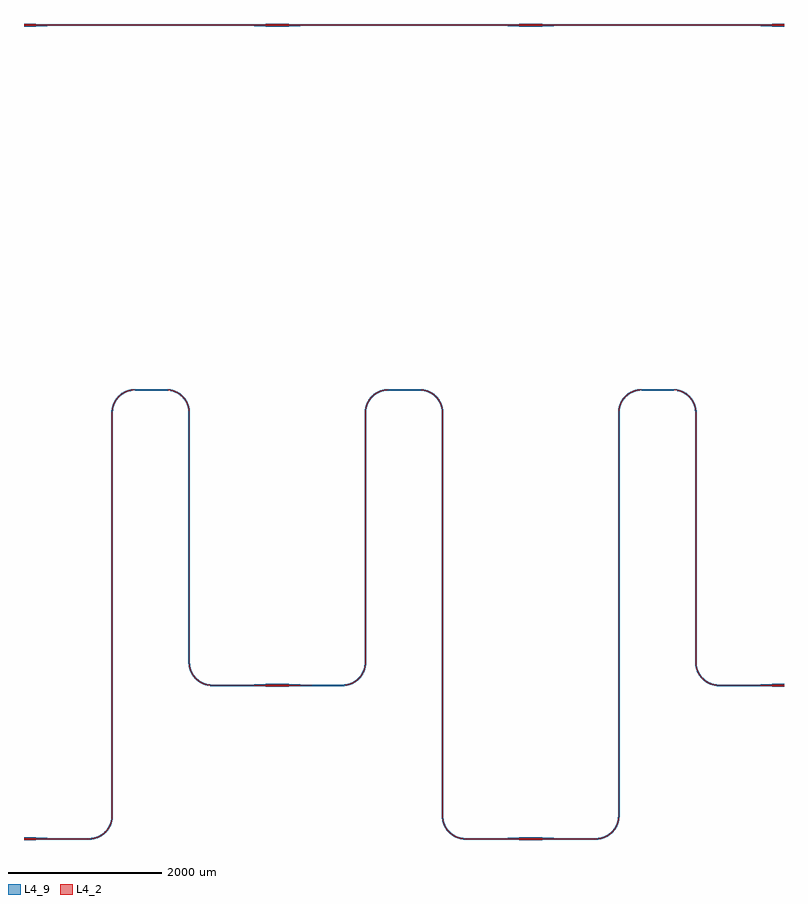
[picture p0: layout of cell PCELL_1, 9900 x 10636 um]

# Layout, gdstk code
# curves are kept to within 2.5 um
from math import pi, radians
import gdstk
lib = gdstk.Library(unit=1e-6, precision=5e-09)
def R(c, l, rs):  # rectangles x0, y0, x1, y1
    for r in rs: c.add(gdstk.rectangle(r[:2], r[2:], *l))
def P(c, l, *ps):  # polygons
    for p in ps: c.add(gdstk.Polygon(p, *l))
L4_2 = (4, 2)
L4_9 = (4, 9)

dongbo = lib.new_cell('Dongbo')
R(dongbo, L4_2, [(0,-10,150,10)])
P(dongbo, L4_9, [(0,-18),(150,-18),(150,-10),(150,10),(150,18),(0,18),(0,10),(0,-10)])

transition_wire_wire_lin = lib.new_cell('TRANSITION_WIRE_WIRE_LINEAR_3')
P(transition_wire_wire_lin, L4_2, [(150,10),(150,-10),(450,-1.9),(450,1.9)])
P(transition_wire_wire_lin, L4_9, [(150,18),(150,10),(150,-10),(150,-18),(450,-9.9),(450,-1.9),(450,1.9),(450,9.9)])

c_sm = lib.new_cell('SM')
R(c_sm, L4_2, [(0,-1.9,400,1.9)])
P(c_sm, L4_9, [(0,-9.9),(400,-9.9),(400,-1.9),(400,1.9),(400,9.9),(0,9.9),(0,1.9),(0,-1.9)])

pp3_link1 = lib.new_cell('PP3_link1')
R(pp3_link1, L4_2, [(450,21048.1,2850,21051.9)])
P(pp3_link1, L4_9, [(450,21040.1),(2850,21040.1),(2850,21048.1),(2850,21051.9),(2850,21059.9),(450,21059.9),(450,21051.9),(450,21048.1)])

pp3_link2 = lib.new_cell('PP3_link2')
P(pp3_link2, L4_2, [(450,12448.1),(858.42,12448.28),(879.21,12449.72),(899.855,12452.585),(920.25,12456.875),(940.3,12462.555),(955.055,12467.72),(974.275,12475.775),(992.895,12485.14),(1006.41,12492.995),(1023.76,12504.54),(1040.28,12517.25),(1055.875,12531.07),(1066.93,12542.125),(1080.75,12557.72),(1090.39,12570.03),(1102.23,12587.18),(1112.86,12605.105),(1122.225,12623.725),(1128.39,12638.09),(1133.81,12652.75),(1139.835,12672.7),(1144.475,12693.02),(1147.7,12713.61),(1149.495,12734.375),(1149.9,12749.99),(1149.9,15999.99),(1151.01,16025.695),(1154.33,16051.2),(1157.375,16066.335),(1161.195,16081.29),(1169.27,16105.71),(1179.42,16129.34),(1186.475,16143.07),(1194.23,16156.415),(1208.66,16177.705),(1218.18,16189.855),(1228.315,16201.5),(1246.5,16219.685),(1258.145,16229.82),(1270.295,16239.34),(1291.585,16253.77),(1314.045,16266.305),(1337.495,16276.86),(1356.86,16283.825),(1381.665,16290.625),(1396.8,16293.67),(1417.18,16296.505),(1432.57,16297.7),(1450,16298.1),(1450,16301.9),(1421.975,16300.775),(1396.145,16297.415),(1380.82,16294.33),(1365.675,16290.46),(1340.945,16282.28),(1317.01,16272.005),(1303.105,16264.86),(1289.59,16257.005),(1276.5,16248.46),(1263.87,16239.25),(1243.935,16222.485),(1232.69,16211.625),(1222.025,16200.195),(1205.61,16179.97),(1190.995,16158.41),(1183.14,16144.895),(1175.995,16130.99),(1165.72,16107.055),(1157.54,16082.325),(1153.67,16067.18),(1150.585,16051.855),(1147.225,16026.025),(1146.1,16000.01),(1146.1,12750.01),(1145.39,12729.435),(1143.925,12714.07),(1140.74,12693.735),(1136.165,12673.675),(1130.21,12653.975),(1124.86,12639.495),(1116.58,12620.66),(1109.525,12606.93),(1101.77,12593.585),(1090.37,12576.45),(1077.82,12560.145),(1064.175,12544.74),(1049.5,12530.315),(1033.86,12516.935),(1021.55,12507.63),(1004.415,12496.23),(986.535,12486.045),(972.685,12479.23),(953.71,12471.27),(939.14,12466.175),(919.34,12460.56),(899.2,12456.33),(878.82,12453.495),(858.29,12452.08),(450,12451.9)])
P(pp3_link2, L4_9, [(450,12440.1),(858.695,12440.285),(901.23,12444.705),(942.745,12454.94),(977.62,12468.51),(1010.605,12486.185),(1045.375,12511.08),(1072.73,12536.615),(1096.815,12565.26),(1117.27,12596.595),(1133.795,12630.17),(1147.57,12670.655),(1154.95,12707.34),(1157.9,12749.955),(1158.98,16025.005),(1167.57,16074.275),(1184.495,16121.34),(1209.255,16164.795),(1244.645,16206.895),(1291.545,16244.295),(1340.465,16269.43),(1393.245,16284.885),(1450,16290.1),(1450,16309.9),(1394.77,16305.295),(1338.11,16289.76),(1285.395,16263.815),(1238.525,16228.38),(1202.41,16189.01),(1171.15,16139.26),(1149.845,16084.505),(1139.255,16026.715),(1138.1,12750.045),(1135.34,12710.065),(1128.43,12675.725),(1117.43,12642.465),(1102.505,12610.77),(1080.915,12577.06),(1058.375,12550.25),(1032.76,12526.345),(1004.455,12505.705),(973.87,12488.63),(941.445,12475.365),(897.825,12464.21),(858.015,12460.075),(450,12459.9)])

pp3_link3 = lib.new_cell('PP3_link3')
P(pp3_link3, L4_2, [(2850,10451.9),(2441.71,10452.08),(2421.18,10453.495),(2395.735,10457.26),(2370.71,10463.195),(2351.12,10469.49),(2332.005,10477.115),(2313.465,10486.045),(2295.585,10496.23),(2282.66,10504.67),(2266.14,10516.935),(2250.5,10530.315),(2235.825,10544.74),(2225.49,10556.205),(2212.66,10572.295),(2203.78,10584.92),(2192.985,10602.44),(2183.42,10620.66),(2175.14,10639.495),(2168.175,10658.86),(2162.56,10678.66),(2158.33,10698.8),(2155.01,10724.305),(2153.9,10750.01),(2153.9,16000.01),(2153.495,16015.625),(2152.28,16031.21),(2150.265,16046.715),(2145.125,16072.25),(2137.81,16097.25),(2132.39,16111.91),(2126.225,16126.275),(2119.32,16140.3),(2111.7,16153.95),(2097.46,16175.76),(2088.035,16188.23),(2077.975,16200.195),(2059.875,16218.93),(2048.265,16229.395),(2036.13,16239.25),(2014.82,16254.23),(1992.3,16267.32),(1978.275,16274.225),(1963.91,16280.39),(1949.25,16285.81),(1934.325,16290.46),(1908.98,16296.475),(1893.56,16299.025),(1878.025,16300.775),(1850,16301.9),(1850,16298.1),(1867.43,16297.7),(1882.82,16296.505),(1903.2,16293.67),(1918.335,16290.625),(1943.14,16283.825),(1967.265,16274.915),(1981.34,16268.58),(1995.07,16261.525),(2017.08,16248.22),(2037.86,16233.065),(2057.26,16216.175),(2068.175,16205.26),(2078.51,16193.795),(2094.37,16173.55),(2108.43,16152.01),(2115.955,16138.535),(2122.77,16124.685),(2128.86,16110.505),(2134.21,16096.025),(2141.44,16071.34),(2146.51,16046.125),(2148.505,16030.82),(2149.7,16015.43),(2150.1,15999.99),(2150.1,10749.99),(2151.225,10723.975),(2154.585,10698.145),(2158.875,10677.75),(2164.555,10657.7),(2169.72,10642.945),(2177.775,10623.725),(2187.14,10605.105),(2194.995,10591.59),(2206.54,10574.24),(2219.25,10557.72),(2233.07,10542.125),(2247.935,10527.515),(2263.77,10513.965),(2280.5,10501.54),(2293.59,10492.995),(2311.7,10482.68),(2330.475,10473.64),(2349.835,10465.915),(2369.675,10459.54),(2395.02,10453.525),(2415.61,10450.3),(2441.58,10448.28),(2850,10448.1)])
P(pp3_link3, L4_9, [(2850,10459.9),(2441.985,10460.075),(2397.245,10465.115),(2353.825,10477.015),(2321.64,10490.84),(2287.205,10511.255),(2255.91,10536.21),(2228.345,10565.24),(2207.705,10593.545),(2188.495,10628.66),(2175.79,10661.305),(2166.21,10700.175),(2161.9,10750.045),(2161.485,16016.04),(2152.895,16074.165),(2133.49,16129.62),(2103.965,16180.42),(2065.385,16224.73),(2019.135,16260.965),(1966.875,16287.82),(1910.49,16304.33),(1850,16309.9),(1850,16290.1),(1906.755,16284.885),(1964.17,16267.535),(2012.65,16241.555),(2058.895,16203.355),(2093.555,16160.65),(2117.56,16116.775),(2133.67,16069.425),(2141.71,16015.015),(2142.1,10749.955),(2146.705,10696.77),(2155.345,10660.36),(2170.51,10620.38),(2191.035,10582.865),(2216.525,10548.535),(2246.5,10518.035),(2275.955,10494.955),(2312.74,10473.15),(2352.175,10456.62),(2398.77,10444.705),(2441.305,10440.285),(2850,10440.1)])

pp3 = lib.new_cell('PP3')
pp3.add(gdstk.Reference(dongbo, (0,21050)))
pp3.add(gdstk.Reference(dongbo, (3150,10450)))
pp3.add(gdstk.Reference(dongbo, (3150,21050)))
pp3.add(gdstk.Reference(transition_wire_wire_lin, (0,21050)))
pp3.add(gdstk.Reference(dongbo, (0,12450)))
pp3.add(gdstk.Reference(c_sm, (1450,16300)))
pp3.add(gdstk.Reference(transition_wire_wire_lin, (0,12450)))
pp3.add(gdstk.Reference(transition_wire_wire_lin, (3300,21050), rotation=pi, x_reflection=True))
pp3.add(gdstk.Reference(transition_wire_wire_lin, (3300,10450), rotation=pi, x_reflection=True))
pp3.add(gdstk.Reference(pp3_link1, (0,0)))
pp3.add(gdstk.Reference(pp3_link2, (0,0)))
pp3.add(gdstk.Reference(pp3_link3, (0,0)))

c_transition_wire_wire_lin = lib.new_cell('TRANSITION_WIRE_WIRE_LINEAR_2')
P(c_transition_wire_wire_lin, L4_2, [(150,10),(150,-10),(450,-1.9),(450,1.9)])
P(c_transition_wire_wire_lin, L4_9, [(150,18),(150,10),(150,-10),(150,-18),(450,-9.9),(450,-1.9),(450,1.9),(450,9.9)])

pp2_link1 = lib.new_cell('PP2_link1')
R(pp2_link1, L4_2, [(450,21048.1,2850,21051.9)])
P(pp2_link1, L4_9, [(450,21040.1),(2850,21040.1),(2850,21048.1),(2850,21051.9),(2850,21059.9),(450,21059.9),(450,21051.9),(450,21048.1)])

pp2_link2 = lib.new_cell('PP2_link2')
P(pp2_link2, L4_2, [(450,12448.1),(858.42,12448.28),(879.21,12449.72),(899.855,12452.585),(920.25,12456.875),(940.3,12462.555),(955.055,12467.72),(974.275,12475.775),(992.895,12485.14),(1006.41,12492.995),(1023.76,12504.54),(1040.28,12517.25),(1055.875,12531.07),(1066.93,12542.125),(1080.75,12557.72),(1090.39,12570.03),(1102.23,12587.18),(1112.86,12605.105),(1122.225,12623.725),(1128.39,12638.09),(1133.81,12652.75),(1139.835,12672.7),(1144.475,12693.02),(1147.7,12713.61),(1149.495,12734.375),(1149.9,12749.99),(1149.9,15999.99),(1151.01,16025.695),(1154.33,16051.2),(1157.375,16066.335),(1161.195,16081.29),(1169.27,16105.71),(1179.42,16129.34),(1186.475,16143.07),(1194.23,16156.415),(1208.66,16177.705),(1218.18,16189.855),(1228.315,16201.5),(1246.5,16219.685),(1258.145,16229.82),(1270.295,16239.34),(1291.585,16253.77),(1314.045,16266.305),(1337.495,16276.86),(1356.86,16283.825),(1381.665,16290.625),(1396.8,16293.67),(1417.18,16296.505),(1432.57,16297.7),(1450,16298.1),(1450,16301.9),(1421.975,16300.775),(1396.145,16297.415),(1380.82,16294.33),(1365.675,16290.46),(1340.945,16282.28),(1317.01,16272.005),(1303.105,16264.86),(1289.59,16257.005),(1276.5,16248.46),(1263.87,16239.25),(1243.935,16222.485),(1232.69,16211.625),(1222.025,16200.195),(1205.61,16179.97),(1190.995,16158.41),(1183.14,16144.895),(1175.995,16130.99),(1165.72,16107.055),(1157.54,16082.325),(1153.67,16067.18),(1150.585,16051.855),(1147.225,16026.025),(1146.1,16000.01),(1146.1,12750.01),(1145.39,12729.435),(1143.925,12714.07),(1140.74,12693.735),(1136.165,12673.675),(1130.21,12653.975),(1124.86,12639.495),(1116.58,12620.66),(1109.525,12606.93),(1101.77,12593.585),(1090.37,12576.45),(1077.82,12560.145),(1064.175,12544.74),(1049.5,12530.315),(1033.86,12516.935),(1021.55,12507.63),(1004.415,12496.23),(986.535,12486.045),(972.685,12479.23),(953.71,12471.27),(939.14,12466.175),(919.34,12460.56),(899.2,12456.33),(878.82,12453.495),(858.29,12452.08),(450,12451.9)])
P(pp2_link2, L4_9, [(450,12440.1),(858.695,12440.285),(901.23,12444.705),(942.745,12454.94),(977.62,12468.51),(1010.605,12486.185),(1045.375,12511.08),(1072.73,12536.615),(1096.815,12565.26),(1117.27,12596.595),(1133.795,12630.17),(1147.57,12670.655),(1154.95,12707.34),(1157.9,12749.955),(1158.98,16025.005),(1167.57,16074.275),(1184.495,16121.34),(1209.255,16164.795),(1244.645,16206.895),(1291.545,16244.295),(1340.465,16269.43),(1393.245,16284.885),(1450,16290.1),(1450,16309.9),(1394.77,16305.295),(1338.11,16289.76),(1285.395,16263.815),(1238.525,16228.38),(1202.41,16189.01),(1171.15,16139.26),(1149.845,16084.505),(1139.255,16026.715),(1138.1,12750.045),(1135.34,12710.065),(1128.43,12675.725),(1117.43,12642.465),(1102.505,12610.77),(1080.915,12577.06),(1058.375,12550.25),(1032.76,12526.345),(1004.455,12505.705),(973.87,12488.63),(941.445,12475.365),(897.825,12464.21),(858.015,12460.075),(450,12459.9)])

pp2_link3 = lib.new_cell('PP2_link3')
P(pp2_link3, L4_2, [(2850,10451.9),(2441.71,10452.08),(2421.18,10453.495),(2395.735,10457.26),(2370.71,10463.195),(2351.12,10469.49),(2332.005,10477.115),(2313.465,10486.045),(2295.585,10496.23),(2282.66,10504.67),(2266.14,10516.935),(2250.5,10530.315),(2235.825,10544.74),(2225.49,10556.205),(2212.66,10572.295),(2203.78,10584.92),(2192.985,10602.44),(2183.42,10620.66),(2175.14,10639.495),(2168.175,10658.86),(2162.56,10678.66),(2158.33,10698.8),(2155.01,10724.305),(2153.9,10750.01),(2153.9,16000.01),(2153.495,16015.625),(2152.28,16031.21),(2150.265,16046.715),(2145.125,16072.25),(2137.81,16097.25),(2132.39,16111.91),(2126.225,16126.275),(2119.32,16140.3),(2111.7,16153.95),(2097.46,16175.76),(2088.035,16188.23),(2077.975,16200.195),(2059.875,16218.93),(2048.265,16229.395),(2036.13,16239.25),(2014.82,16254.23),(1992.3,16267.32),(1978.275,16274.225),(1963.91,16280.39),(1949.25,16285.81),(1934.325,16290.46),(1908.98,16296.475),(1893.56,16299.025),(1878.025,16300.775),(1850,16301.9),(1850,16298.1),(1867.43,16297.7),(1882.82,16296.505),(1903.2,16293.67),(1918.335,16290.625),(1943.14,16283.825),(1967.265,16274.915),(1981.34,16268.58),(1995.07,16261.525),(2017.08,16248.22),(2037.86,16233.065),(2057.26,16216.175),(2068.175,16205.26),(2078.51,16193.795),(2094.37,16173.55),(2108.43,16152.01),(2115.955,16138.535),(2122.77,16124.685),(2128.86,16110.505),(2134.21,16096.025),(2141.44,16071.34),(2146.51,16046.125),(2148.505,16030.82),(2149.7,16015.43),(2150.1,15999.99),(2150.1,10749.99),(2151.225,10723.975),(2154.585,10698.145),(2158.875,10677.75),(2164.555,10657.7),(2169.72,10642.945),(2177.775,10623.725),(2187.14,10605.105),(2194.995,10591.59),(2206.54,10574.24),(2219.25,10557.72),(2233.07,10542.125),(2247.935,10527.515),(2263.77,10513.965),(2280.5,10501.54),(2293.59,10492.995),(2311.7,10482.68),(2330.475,10473.64),(2349.835,10465.915),(2369.675,10459.54),(2395.02,10453.525),(2415.61,10450.3),(2441.58,10448.28),(2850,10448.1)])
P(pp2_link3, L4_9, [(2850,10459.9),(2441.985,10460.075),(2397.245,10465.115),(2353.825,10477.015),(2321.64,10490.84),(2287.205,10511.255),(2255.91,10536.21),(2228.345,10565.24),(2207.705,10593.545),(2188.495,10628.66),(2175.79,10661.305),(2166.21,10700.175),(2161.9,10750.045),(2161.485,16016.04),(2152.895,16074.165),(2133.49,16129.62),(2103.965,16180.42),(2065.385,16224.73),(2019.135,16260.965),(1966.875,16287.82),(1910.49,16304.33),(1850,16309.9),(1850,16290.1),(1906.755,16284.885),(1964.17,16267.535),(2012.65,16241.555),(2058.895,16203.355),(2093.555,16160.65),(2117.56,16116.775),(2133.67,16069.425),(2141.71,16015.015),(2142.1,10749.955),(2146.705,10696.77),(2155.345,10660.36),(2170.51,10620.38),(2191.035,10582.865),(2216.525,10548.535),(2246.5,10518.035),(2275.955,10494.955),(2312.74,10473.15),(2352.175,10456.62),(2398.77,10444.705),(2441.305,10440.285),(2850,10440.1)])

pp2 = lib.new_cell('PP2')
pp2.add(gdstk.Reference(dongbo, (0,21050)))
pp2.add(gdstk.Reference(dongbo, (3150,10450)))
pp2.add(gdstk.Reference(dongbo, (3150,21050)))
pp2.add(gdstk.Reference(c_transition_wire_wire_lin, (0,21050)))
pp2.add(gdstk.Reference(dongbo, (0,12450)))
pp2.add(gdstk.Reference(c_sm, (1450,16300)))
pp2.add(gdstk.Reference(c_transition_wire_wire_lin, (0,12450)))
pp2.add(gdstk.Reference(c_transition_wire_wire_lin, (3300,21050), rotation=pi, x_reflection=True))
pp2.add(gdstk.Reference(c_transition_wire_wire_lin, (3300,10450), rotation=pi, x_reflection=True))
pp2.add(gdstk.Reference(pp2_link1, (0,0)))
pp2.add(gdstk.Reference(pp2_link2, (0,0)))
pp2.add(gdstk.Reference(pp2_link3, (0,0)))

c_transition_wire_wire_lin_ = lib.new_cell('TRANSITION_WIRE_WIRE_LINEAR_1')
P(c_transition_wire_wire_lin_, L4_2, [(150,10),(150,-10),(450,-1.9),(450,1.9)])
P(c_transition_wire_wire_lin_, L4_9, [(150,18),(150,10),(150,-10),(150,-18),(450,-9.9),(450,-1.9),(450,1.9),(450,9.9)])

pp1_link1 = lib.new_cell('PP1_link1')
R(pp1_link1, L4_2, [(450,21048.1,2850,21051.9)])
P(pp1_link1, L4_9, [(450,21040.1),(2850,21040.1),(2850,21048.1),(2850,21051.9),(2850,21059.9),(450,21059.9),(450,21051.9),(450,21048.1)])

pp1_link2 = lib.new_cell('PP1_link2')
P(pp1_link2, L4_2, [(450,12448.1),(858.42,12448.28),(879.21,12449.72),(899.855,12452.585),(920.25,12456.875),(940.3,12462.555),(955.055,12467.72),(974.275,12475.775),(992.895,12485.14),(1006.41,12492.995),(1023.76,12504.54),(1040.28,12517.25),(1055.875,12531.07),(1066.93,12542.125),(1080.75,12557.72),(1090.39,12570.03),(1102.23,12587.18),(1112.86,12605.105),(1122.225,12623.725),(1128.39,12638.09),(1133.81,12652.75),(1139.835,12672.7),(1144.475,12693.02),(1147.7,12713.61),(1149.495,12734.375),(1149.9,12749.99),(1149.9,15999.99),(1151.01,16025.695),(1154.33,16051.2),(1157.375,16066.335),(1161.195,16081.29),(1169.27,16105.71),(1179.42,16129.34),(1186.475,16143.07),(1194.23,16156.415),(1208.66,16177.705),(1218.18,16189.855),(1228.315,16201.5),(1246.5,16219.685),(1258.145,16229.82),(1270.295,16239.34),(1291.585,16253.77),(1314.045,16266.305),(1337.495,16276.86),(1356.86,16283.825),(1381.665,16290.625),(1396.8,16293.67),(1417.18,16296.505),(1432.57,16297.7),(1450,16298.1),(1450,16301.9),(1421.975,16300.775),(1396.145,16297.415),(1380.82,16294.33),(1365.675,16290.46),(1340.945,16282.28),(1317.01,16272.005),(1303.105,16264.86),(1289.59,16257.005),(1276.5,16248.46),(1263.87,16239.25),(1243.935,16222.485),(1232.69,16211.625),(1222.025,16200.195),(1205.61,16179.97),(1190.995,16158.41),(1183.14,16144.895),(1175.995,16130.99),(1165.72,16107.055),(1157.54,16082.325),(1153.67,16067.18),(1150.585,16051.855),(1147.225,16026.025),(1146.1,16000.01),(1146.1,12750.01),(1145.39,12729.435),(1143.925,12714.07),(1140.74,12693.735),(1136.165,12673.675),(1130.21,12653.975),(1124.86,12639.495),(1116.58,12620.66),(1109.525,12606.93),(1101.77,12593.585),(1090.37,12576.45),(1077.82,12560.145),(1064.175,12544.74),(1049.5,12530.315),(1033.86,12516.935),(1021.55,12507.63),(1004.415,12496.23),(986.535,12486.045),(972.685,12479.23),(953.71,12471.27),(939.14,12466.175),(919.34,12460.56),(899.2,12456.33),(878.82,12453.495),(858.29,12452.08),(450,12451.9)])
P(pp1_link2, L4_9, [(450,12440.1),(858.695,12440.285),(901.23,12444.705),(942.745,12454.94),(977.62,12468.51),(1010.605,12486.185),(1045.375,12511.08),(1072.73,12536.615),(1096.815,12565.26),(1117.27,12596.595),(1133.795,12630.17),(1147.57,12670.655),(1154.95,12707.34),(1157.9,12749.955),(1158.98,16025.005),(1167.57,16074.275),(1184.495,16121.34),(1209.255,16164.795),(1244.645,16206.895),(1291.545,16244.295),(1340.465,16269.43),(1393.245,16284.885),(1450,16290.1),(1450,16309.9),(1394.77,16305.295),(1338.11,16289.76),(1285.395,16263.815),(1238.525,16228.38),(1202.41,16189.01),(1171.15,16139.26),(1149.845,16084.505),(1139.255,16026.715),(1138.1,12750.045),(1135.34,12710.065),(1128.43,12675.725),(1117.43,12642.465),(1102.505,12610.77),(1080.915,12577.06),(1058.375,12550.25),(1032.76,12526.345),(1004.455,12505.705),(973.87,12488.63),(941.445,12475.365),(897.825,12464.21),(858.015,12460.075),(450,12459.9)])

pp1_link3 = lib.new_cell('PP1_link3')
P(pp1_link3, L4_2, [(2850,10451.9),(2441.71,10452.08),(2421.18,10453.495),(2395.735,10457.26),(2370.71,10463.195),(2351.12,10469.49),(2332.005,10477.115),(2313.465,10486.045),(2295.585,10496.23),(2282.66,10504.67),(2266.14,10516.935),(2250.5,10530.315),(2235.825,10544.74),(2225.49,10556.205),(2212.66,10572.295),(2203.78,10584.92),(2192.985,10602.44),(2183.42,10620.66),(2175.14,10639.495),(2168.175,10658.86),(2162.56,10678.66),(2158.33,10698.8),(2155.01,10724.305),(2153.9,10750.01),(2153.9,16000.01),(2153.495,16015.625),(2152.28,16031.21),(2150.265,16046.715),(2145.125,16072.25),(2137.81,16097.25),(2132.39,16111.91),(2126.225,16126.275),(2119.32,16140.3),(2111.7,16153.95),(2097.46,16175.76),(2088.035,16188.23),(2077.975,16200.195),(2059.875,16218.93),(2048.265,16229.395),(2036.13,16239.25),(2014.82,16254.23),(1992.3,16267.32),(1978.275,16274.225),(1963.91,16280.39),(1949.25,16285.81),(1934.325,16290.46),(1908.98,16296.475),(1893.56,16299.025),(1878.025,16300.775),(1850,16301.9),(1850,16298.1),(1867.43,16297.7),(1882.82,16296.505),(1903.2,16293.67),(1918.335,16290.625),(1943.14,16283.825),(1967.265,16274.915),(1981.34,16268.58),(1995.07,16261.525),(2017.08,16248.22),(2037.86,16233.065),(2057.26,16216.175),(2068.175,16205.26),(2078.51,16193.795),(2094.37,16173.55),(2108.43,16152.01),(2115.955,16138.535),(2122.77,16124.685),(2128.86,16110.505),(2134.21,16096.025),(2141.44,16071.34),(2146.51,16046.125),(2148.505,16030.82),(2149.7,16015.43),(2150.1,15999.99),(2150.1,10749.99),(2151.225,10723.975),(2154.585,10698.145),(2158.875,10677.75),(2164.555,10657.7),(2169.72,10642.945),(2177.775,10623.725),(2187.14,10605.105),(2194.995,10591.59),(2206.54,10574.24),(2219.25,10557.72),(2233.07,10542.125),(2247.935,10527.515),(2263.77,10513.965),(2280.5,10501.54),(2293.59,10492.995),(2311.7,10482.68),(2330.475,10473.64),(2349.835,10465.915),(2369.675,10459.54),(2395.02,10453.525),(2415.61,10450.3),(2441.58,10448.28),(2850,10448.1)])
P(pp1_link3, L4_9, [(2850,10459.9),(2441.985,10460.075),(2397.245,10465.115),(2353.825,10477.015),(2321.64,10490.84),(2287.205,10511.255),(2255.91,10536.21),(2228.345,10565.24),(2207.705,10593.545),(2188.495,10628.66),(2175.79,10661.305),(2166.21,10700.175),(2161.9,10750.045),(2161.485,16016.04),(2152.895,16074.165),(2133.49,16129.62),(2103.965,16180.42),(2065.385,16224.73),(2019.135,16260.965),(1966.875,16287.82),(1910.49,16304.33),(1850,16309.9),(1850,16290.1),(1906.755,16284.885),(1964.17,16267.535),(2012.65,16241.555),(2058.895,16203.355),(2093.555,16160.65),(2117.56,16116.775),(2133.67,16069.425),(2141.71,16015.015),(2142.1,10749.955),(2146.705,10696.77),(2155.345,10660.36),(2170.51,10620.38),(2191.035,10582.865),(2216.525,10548.535),(2246.5,10518.035),(2275.955,10494.955),(2312.74,10473.15),(2352.175,10456.62),(2398.77,10444.705),(2441.305,10440.285),(2850,10440.1)])

pp1 = lib.new_cell('PP1')
pp1.add(gdstk.Reference(dongbo, (0,21050)))
pp1.add(gdstk.Reference(dongbo, (3150,10450)))
pp1.add(gdstk.Reference(dongbo, (3150,21050)))
pp1.add(gdstk.Reference(c_transition_wire_wire_lin_, (0,21050)))
pp1.add(gdstk.Reference(dongbo, (0,12450)))
pp1.add(gdstk.Reference(c_sm, (1450,16300)))
pp1.add(gdstk.Reference(c_transition_wire_wire_lin_, (0,12450)))
pp1.add(gdstk.Reference(c_transition_wire_wire_lin_, (3300,21050), rotation=pi, x_reflection=True))
pp1.add(gdstk.Reference(c_transition_wire_wire_lin_, (3300,10450), rotation=pi, x_reflection=True))
pp1.add(gdstk.Reference(pp1_link1, (0,0)))
pp1.add(gdstk.Reference(pp1_link2, (0,0)))
pp1.add(gdstk.Reference(pp1_link3, (0,0)))

pcell_1 = lib.new_cell('PCELL_1')
pcell_1.add(gdstk.Reference(pp3, (9900,0), rotation=pi, x_reflection=True))
pcell_1.add(gdstk.Reference(pp2, (3300,0)))
pcell_1.add(gdstk.Reference(pp1, (3300,0), rotation=pi, x_reflection=True))

lib.write_gds('PCELL_1.gds')
